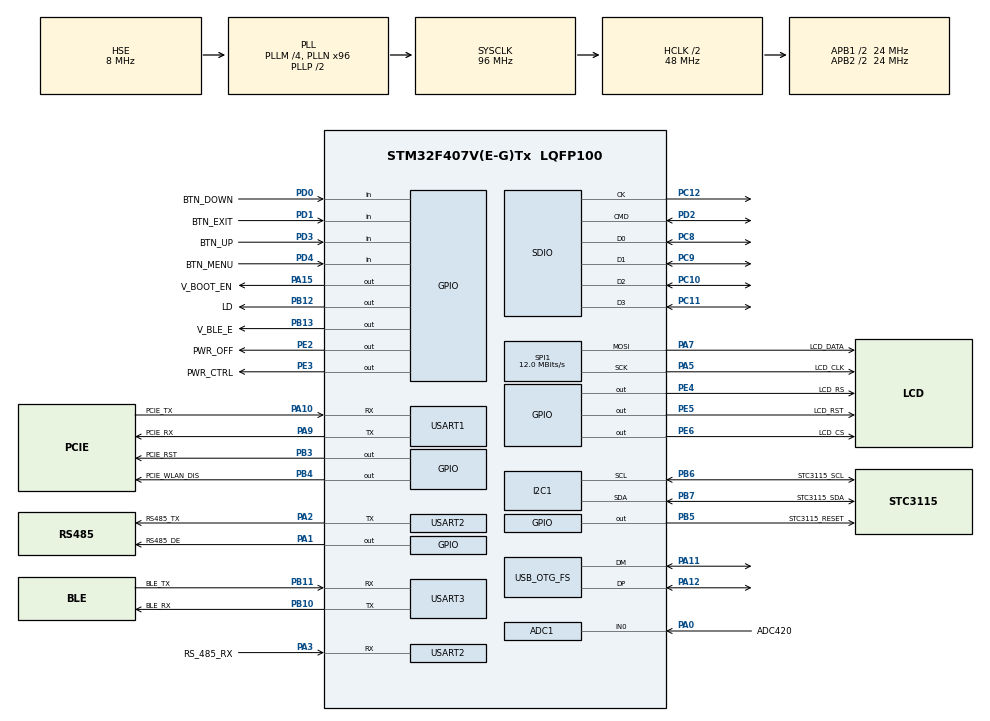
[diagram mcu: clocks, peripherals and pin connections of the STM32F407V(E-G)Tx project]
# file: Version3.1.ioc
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ADC1.Channel-2\#ChannelRegularConversion=ADC_CHANNEL_0
ADC1.NbrOfConversionFlag=1
ADC1.Rank-2\#ChannelRegularConversion=1
ADC1.SamplingTime-2\#ChannelRegularConversion=ADC_SAMPLETIME_3CYCLES
ADC1.master=1
Dma.Request0=SPI1_TX
Dma.Request1=SDIO_RX
Dma.Request2=SDIO_TX
Dma.Request3=USART2_TX
Dma.Request4=USART2_RX
Dma.Request5=USART1_RX
Dma.Request6=USART1_TX
Dma.Request7=USART3_RX
Dma.Request8=USART3_TX
Dma.SDIO_RX.1.Direction=DMA_PERIPH_TO_MEMORY
Dma.SDIO_RX.1.FIFOMode=DMA_FIFOMODE_ENABLE
Dma.SDIO_RX.1.FIFOThreshold=DMA_FIFO_THRESHOLD_FULL
Dma.SDIO_RX.1.Instance=DMA2_Stream6
Dma.SDIO_RX.1.MemBurst=DMA_MBURST_INC4
Dma.SDIO_RX.1.MemDataAlignment=DMA_MDATAALIGN_WORD
Dma.SDIO_RX.1.MemInc=DMA_MINC_ENABLE
Dma.SDIO_RX.1.Mode=DMA_PFCTRL
Dma.SDIO_RX.1.PeriphBurst=DMA_PBURST_INC4
Dma.SDIO_RX.1.PeriphDataAlignment=DMA_PDATAALIGN_WORD
Dma.SDIO_RX.1.PeriphInc=DMA_PINC_DISABLE
Dma.SDIO_RX.1.Priority=DMA_PRIORITY_LOW
Dma.SDIO_TX.2.Direction=DMA_MEMORY_TO_PERIPH
Dma.SDIO_TX.2.FIFOMode=DMA_FIFOMODE_ENABLE
Dma.SDIO_TX.2.FIFOThreshold=DMA_FIFO_THRESHOLD_FULL
Dma.SDIO_TX.2.Instance=DMA2_Stream3
Dma.SDIO_TX.2.MemBurst=DMA_MBURST_INC4
Dma.SDIO_TX.2.MemDataAlignment=DMA_MDATAALIGN_WORD
Dma.SDIO_TX.2.MemInc=DMA_MINC_ENABLE
Dma.SDIO_TX.2.Mode=DMA_PFCTRL
Dma.SDIO_TX.2.PeriphBurst=DMA_PBURST_INC4
Dma.SDIO_TX.2.PeriphDataAlignment=DMA_PDATAALIGN_WORD
Dma.SDIO_TX.2.PeriphInc=DMA_PINC_DISABLE
Dma.SDIO_TX.2.Priority=DMA_PRIORITY_LOW
Dma.SPI1_TX.0.Direction=DMA_MEMORY_TO_PERIPH
Dma.SPI1_TX.0.FIFOMode=DMA_FIFOMODE_DISABLE
Dma.SPI1_TX.0.Instance=DMA2_Stream5
Dma.SPI1_TX.0.MemDataAlignment=DMA_MDATAALIGN_BYTE
Dma.SPI1_TX.0.MemInc=DMA_MINC_ENABLE
Dma.SPI1_TX.0.Mode=DMA_NORMAL
Dma.SPI1_TX.0.PeriphDataAlignment=DMA_PDATAALIGN_BYTE
Dma.SPI1_TX.0.PeriphInc=DMA_PINC_DISABLE
Dma.SPI1_TX.0.Priority=DMA_PRIORITY_LOW
Dma.USART1_RX.5.Direction=DMA_PERIPH_TO_MEMORY
Dma.USART1_RX.5.FIFOMode=DMA_FIFOMODE_DISABLE
Dma.USART1_RX.5.Instance=DMA2_Stream2
Dma.USART1_RX.5.MemDataAlignment=DMA_MDATAALIGN_BYTE
Dma.USART1_RX.5.MemInc=DMA_MINC_ENABLE
Dma.USART1_RX.5.Mode=DMA_NORMAL
Dma.USART1_RX.5.PeriphDataAlignment=DMA_PDATAALIGN_BYTE
Dma.USART1_RX.5.PeriphInc=DMA_PINC_DISABLE
Dma.USART1_RX.5.Priority=DMA_PRIORITY_LOW
Dma.USART1_TX.6.Direction=DMA_MEMORY_TO_PERIPH
Dma.USART1_TX.6.FIFOMode=DMA_FIFOMODE_DISABLE
Dma.USART1_TX.6.Instance=DMA2_Stream7
Dma.USART1_TX.6.MemDataAlignment=DMA_MDATAALIGN_BYTE
Dma.USART1_TX.6.MemInc=DMA_MINC_ENABLE
Dma.USART1_TX.6.Mode=DMA_NORMAL
Dma.USART1_TX.6.PeriphDataAlignment=DMA_PDATAALIGN_BYTE
Dma.USART1_TX.6.PeriphInc=DMA_PINC_DISABLE
Dma.USART1_TX.6.Priority=DMA_PRIORITY_LOW
Dma.USART2_RX.4.Direction=DMA_PERIPH_TO_MEMORY
Dma.USART2_RX.4.FIFOMode=DMA_FIFOMODE_DISABLE
Dma.USART2_RX.4.Instance=DMA1_Stream5
Dma.USART2_RX.4.MemDataAlignment=DMA_MDATAALIGN_BYTE
Dma.USART2_RX.4.MemInc=DMA_MINC_ENABLE
Dma.USART2_RX.4.Mode=DMA_NORMAL
Dma.USART2_RX.4.PeriphDataAlignment=DMA_PDATAALIGN_BYTE
Dma.USART2_RX.4.PeriphInc=DMA_PINC_DISABLE
Dma.USART2_RX.4.Priority=DMA_PRIORITY_LOW
Dma.USART2_TX.3.Direction=DMA_MEMORY_TO_PERIPH
Dma.USART2_TX.3.FIFOMode=DMA_FIFOMODE_DISABLE
Dma.USART2_TX.3.Instance=DMA1_Stream6
Dma.USART2_TX.3.MemDataAlignment=DMA_MDATAALIGN_BYTE
Dma.USART2_TX.3.MemInc=DMA_MINC_ENABLE
Dma.USART2_TX.3.Mode=DMA_NORMAL
Dma.USART2_TX.3.PeriphDataAlignment=DMA_PDATAALIGN_BYTE
Dma.USART2_TX.3.PeriphInc=DMA_PINC_DISABLE
Dma.USART2_TX.3.Priority=DMA_PRIORITY_LOW
Dma.USART3_RX.7.Direction=DMA_PERIPH_TO_MEMORY
Dma.USART3_RX.7.FIFOMode=DMA_FIFOMODE_DISABLE
Dma.USART3_RX.7.Instance=DMA1_Stream1
Dma.USART3_RX.7.MemDataAlignment=DMA_MDATAALIGN_BYTE
Dma.USART3_RX.7.MemInc=DMA_MINC_ENABLE
Dma.USART3_RX.7.Mode=DMA_NORMAL
Dma.USART3_RX.7.PeriphDataAlignment=DMA_PDATAALIGN_BYTE
Dma.USART3_RX.7.PeriphInc=DMA_PINC_DISABLE
Dma.USART3_RX.7.Priority=DMA_PRIORITY_LOW
Dma.USART3_TX.8.Direction=DMA_MEMORY_TO_PERIPH
Dma.USART3_TX.8.FIFOMode=DMA_FIFOMODE_DISABLE
Dma.USART3_TX.8.Instance=DMA1_Stream3
Dma.USART3_TX.8.MemDataAlignment=DMA_MDATAALIGN_BYTE
Dma.USART3_TX.8.MemInc=DMA_MINC_ENABLE
Dma.USART3_TX.8.Mode=DMA_NORMAL
Dma.USART3_TX.8.PeriphDataAlignment=DMA_PDATAALIGN_BYTE
Dma.USART3_TX.8.PeriphInc=DMA_PINC_DISABLE
Dma.USART3_TX.8.Priority=DMA_PRIORITY_LOW
FREERTOS.Tasks01=Mainfunction,0,3096,MainfunctionTask,As weak,NULL,Dynamic,NULL,NULL;io_handle,1,1024,io_handle_cb,As weak,NULL,Dynamic,NULL,NULL;STC3115_handle,0,1024,STC3115_handle_cb,As weak,NULL,Dynamic,NULL,NULL;Uc20_Task,0,2048,Start_Uc20,As weak,NULL,Dynamic,NULL,NULL
FREERTOS.configTOTAL_HEAP_SIZE=65536
FREERTOS.configUSE_TIMERS=1
I2C1.I2C_Mode=I2C_Fast
Mcu.Family=STM32F4
Mcu.Name=STM32F407V(E-G)Tx
Mcu.Package=LQFP100
NVIC.DMA1_Stream1_IRQn=true\:5\:0\:false\:false\:true\:true\:false\:true
NVIC.DMA1_Stream3_IRQn=true\:5\:0\:false\:false\:true\:true\:false\:true
NVIC.DMA1_Stream5_IRQn=true\:5\:0\:false\:false\:true\:true\:false\:true
NVIC.DMA1_Stream6_IRQn=true\:5\:0\:false\:false\:true\:true\:false\:true
NVIC.DMA2_Stream2_IRQn=true\:5\:0\:false\:false\:true\:true\:false\:true
NVIC.DMA2_Stream3_IRQn=true\:5\:0\:false\:false\:true\:true\:false\:true
NVIC.DMA2_Stream5_IRQn=true\:5\:0\:false\:false\:true\:false\:false\:true
NVIC.DMA2_Stream6_IRQn=true\:5\:0\:false\:false\:true\:true\:false\:true
NVIC.DMA2_Stream7_IRQn=true\:5\:0\:false\:false\:true\:true\:false\:true
NVIC.I2C1_ER_IRQn=true\:5\:0\:false\:false\:true\:false\:true\:true
NVIC.I2C1_EV_IRQn=true\:5\:0\:false\:false\:true\:false\:true\:true
NVIC.OTG_FS_IRQn=true\:5\:0\:true\:false\:true\:false\:false\:true
NVIC.PriorityGroup=NVIC_PRIORITYGROUP_4
NVIC.SDIO_IRQn=true\:5\:0\:false\:false\:true\:true\:true\:true
NVIC.SPI1_IRQn=true\:5\:0\:false\:false\:true\:false\:true\:true
NVIC.TIM7_IRQn=true\:0\:0\:false\:false\:true\:false\:false\:true
NVIC.TimeBase=TIM7_IRQn
NVIC.TimeBaseIP=TIM7
NVIC.USART1_IRQn=true\:5\:0\:false\:false\:true\:true\:true\:true
NVIC.USART2_IRQn=true\:5\:0\:false\:false\:true\:true\:true\:true
PA0-WKUP.GPIO_Label=ADC420
PA0-WKUP.Signal=ADCx_IN0
PA1.GPIO_Label=RS485_DE
PA1.Signal=GPIO_Output
PA10.GPIO_Label=PCIE_TX
PA10.GPIO_PuPd=GPIO_PULLUP
PA10.Mode=Asynchronous
PA10.Signal=USART1_RX
PA11.Mode=Device_Only
PA11.Signal=USB_OTG_FS_DM
PA12.Mode=Device_Only
PA12.Signal=USB_OTG_FS_DP
PA13.Mode=Serial_Wire
PA13.Signal=SYS_JTMS-SWDIO
PA14.Mode=Serial_Wire
PA14.Signal=SYS_JTCK-SWCLK
PA15.GPIO_Label=V_BOOT_EN
PA15.Signal=GPIO_Output
PA2.GPIO_Label=RS485_TX
PA2.Mode=Asynchronous
PA2.Signal=USART2_TX
PA3.GPIO_Label=RS_485_RX
PA3.Mode=Asynchronous
PA3.Signal=USART2_RX
PA5.GPIO_Label=LCD_CLK
PA5.Mode=TX_Only_Simplex_Unidirect_Master
PA5.Signal=SPI1_SCK
PA7.GPIO_Label=LCD_DATA
PA7.Mode=TX_Only_Simplex_Unidirect_Master
PA7.Signal=SPI1_MOSI
PA9.GPIO_Label=PCIE_RX
PA9.GPIO_PuPd=GPIO_PULLUP
PA9.Mode=Asynchronous
PA9.Signal=USART1_TX
PB10.GPIO_Label=BLE_RX
PB10.Mode=Asynchronous
PB10.Signal=USART3_TX
PB11.GPIO_Label=BLE_TX
PB11.Mode=Asynchronous
PB11.Signal=USART3_RX
PB12.GPIO_Label=LD
PB12.Signal=GPIO_Output
PB13.GPIO_Label=V_BLE_E
PB13.Signal=GPIO_Output
PB3.GPIO_Label=PCIE_RST
PB3.Signal=GPIO_Output
PB4.GPIO_Label=PCIE_WLAN_DIS
PB4.Signal=GPIO_Output
PB5.GPIO_Label=STC3115_RESET
PB5.Signal=GPIO_Output
PB6.GPIO_Label=STC3115_SCL
PB6.Mode=I2C
PB6.Signal=I2C1_SCL
PB7.GPIO_Label=STC3115_SDA
PB7.Mode=I2C
PB7.Signal=I2C1_SDA
PC10.GPIO_PuPd=GPIO_PULLUP
PC10.Mode=SD_4_bits_Wide_bus
PC10.Signal=SDIO_D2
PC11.GPIO_PuPd=GPIO_PULLUP
PC11.Mode=SD_4_bits_Wide_bus
PC11.Signal=SDIO_D3
PC12.GPIO_PuPd=GPIO_NOPULL
PC12.Mode=SD_4_bits_Wide_bus
PC12.Signal=SDIO_CK
PC14-OSC32_IN.Mode=LSE-External-Oscillator
PC14-OSC32_IN.Signal=RCC_OSC32_IN
PC15-OSC32_OUT.Mode=LSE-External-Oscillator
PC15-OSC32_OUT.Signal=RCC_OSC32_OUT
PC8.GPIO_PuPd=GPIO_PULLUP
PC8.Mode=SD_4_bits_Wide_bus
PC8.Signal=SDIO_D0
PC9.GPIO_PuPd=GPIO_PULLUP
PC9.Mode=SD_4_bits_Wide_bus
PC9.Signal=SDIO_D1
PD0.GPIO_Label=BTN_DOWN
PD0.Signal=GPIO_Input
PD1.GPIO_Label=BTN_EXIT
PD1.Signal=GPIO_Input
PD2.GPIO_PuPd=GPIO_PULLUP
PD2.Mode=SD_4_bits_Wide_bus
PD2.Signal=SDIO_CMD
PD3.GPIO_Label=BTN_UP
PD3.Signal=GPIO_Input
PD4.GPIO_Label=BTN_MENU
PD4.Signal=GPIO_Input
PE2.GPIO_Label=PWR_OFF
PE2.GPIO_PuPd=GPIO_PULLDOWN
PE2.PinState=GPIO_PIN_RESET
PE2.Signal=GPIO_Output
PE3.GPIO_Label=PWR_CTRL
PE3.Signal=GPIO_Output
PE4.GPIO_Label=LCD_RS
PE4.Signal=GPIO_Output
PE5.GPIO_Label=LCD_RST
PE5.Signal=GPIO_Output
PE6.GPIO_Label=LCD_CS
PE6.Signal=GPIO_Output
PH0-OSC_IN.Mode=HSE-External-Oscillator
PH0-OSC_IN.Signal=RCC_OSC_IN
PH1-OSC_OUT.Mode=HSE-External-Oscillator
PH1-OSC_OUT.Signal=RCC_OSC_OUT
ProjectManager.HeapSize=0x200
ProjectManager.StackSize=0x400
ProjectManager.TargetToolchain=STM32CubeIDE
RCC.48MHZClocksFreq_Value=48000000
RCC.AHBCLKDivider=RCC_SYSCLK_DIV2
RCC.AHBFreq_Value=48000000
RCC.APB1CLKDivider=RCC_HCLK_DIV2
RCC.APB1Freq_Value=24000000
RCC.APB1TimFreq_Value=48000000
RCC.APB2CLKDivider=RCC_HCLK_DIV2
RCC.APB2Freq_Value=24000000
RCC.APB2TimFreq_Value=48000000
RCC.CortexFreq_Value=48000000
RCC.HCLKFreq_Value=48000000
RCC.HSE_VALUE=8000000
RCC.HSI_VALUE=16000000
RCC.PLLM=4
RCC.PLLN=96
RCC.RCC_RTC_Clock_SourceVirtual=RCC_RTCCLKSOURCE_LSE
RCC.RCC_RTC_Clock_Source_FROM_HSE=RCC_RTCCLKSOURCE_HSE_DIV16
RCC.SYSCLKFreq_VALUE=96000000
RCC.SYSCLKSource=RCC_SYSCLKSOURCE_PLLCLK
RCC.VCOOutputFreq_Value=192000000
RTC.Date=1
RTC.Format=RTC_FORMAT_BIN
RTC.Hours=10
RTC.Month=RTC_MONTH_DECEMBER
RTC.WeekDay=RTC_WEEKDAY_TUESDAY
RTC.Year=20
SDIO.ClockDiv=10
SH.ADCx_IN0.0=ADC1_IN0,IN0
SPI1.BaudRatePrescaler=SPI_BAUDRATEPRESCALER_2
SPI1.CLKPhase=SPI_PHASE_1EDGE
SPI1.CLKPolarity=SPI_POLARITY_LOW
SPI1.CalculateBaudRate=12.0 MBits/s
SPI1.Direction=SPI_DIRECTION_2LINES
SPI1.Mode=SPI_MODE_MASTER
SPI1.VirtualType=VM_MASTER
TIM1.Period=999
TIM1.Prescaler=95
USART1.VirtualMode=VM_ASYNC
USART2.BaudRate=9600
USART2.VirtualMode=VM_ASYNC
USART3.VirtualMode=VM_ASYNC
USB_DEVICE.APP_RX_DATA_SIZE-CDC_FS=512
USB_DEVICE.APP_TX_DATA_SIZE-CDC_FS=512
USB_DEVICE.CLASS_NAME_FS=CDC
USB_DEVICE.VirtualMode-CDC_FS=Cdc
USB_DEVICE.VirtualModeFS=Cdc_FS
USB_OTG_FS.VirtualMode=Device_Only
VP_FATFS_VS_SDIO.Mode=SDIO
VP_FREERTOS_VS_CMSIS_V1.Mode=CMSIS_V1
VP_RTC_VS_RTC_Activate.Mode=RTC_Enabled
VP_RTC_VS_RTC_Calendar.Mode=RTC_Calendar
VP_SYS_VS_tim7.Mode=TIM7
VP_TIM1_VS_ClockSourceINT.Mode=Internal
VP_USB_DEVICE_VS_USB_DEVICE_CDC_FS.Mode=CDC_FS
board=custom

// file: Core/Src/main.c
/* USER CODE BEGIN Header */
/**
  ******************************************************************************
  * @file           : main.c
  * @brief          : Main program body
  ******************************************************************************
  * @attention
  *
  * <h2><center>&copy; Copyright (c) 2020 STMicroelectronics.
  * All rights reserved.</center></h2>
  *
  * This software component is licensed by ST under Ultimate Liberty license
  * SLA0044, the "License"; You may not use this file except in compliance with
  * the License. You may obtain a copy of the License at:
  *                             www.st.com/SLA0044
  *
  ******************************************************************************
  */
/* USER CODE END Header */
#include "main.h"
#include "cmsis_os.h"
#include "fatfs.h"
#include "usb_device.h"

/* USER CODE BEGIN Includes */
#include "App_User.h"
#include "ST7565.h"
#include "stc3115_Driver.h"
#include "lvgl.h"
#include "lv_port_disp_template.h"
#include "App_Gpio.h"
//#include "lvgl.h"
/* USER CODE END Includes */

ADC_HandleTypeDef hadc1;

I2C_HandleTypeDef hi2c1;

RTC_HandleTypeDef hrtc;

SD_HandleTypeDef hsd;
DMA_HandleTypeDef hdma_sdio_rx;
DMA_HandleTypeDef hdma_sdio_tx;

SPI_HandleTypeDef hspi1;
DMA_HandleTypeDef hdma_spi1_tx;

TIM_HandleTypeDef htim1;

UART_HandleTypeDef huart1;
UART_HandleTypeDef huart2;
UART_HandleTypeDef huart3;
DMA_HandleTypeDef hdma_usart1_rx;
DMA_HandleTypeDef hdma_usart1_tx;
DMA_HandleTypeDef hdma_usart2_tx;
DMA_HandleTypeDef hdma_usart2_rx;
DMA_HandleTypeDef hdma_usart3_rx;
DMA_HandleTypeDef hdma_usart3_tx;

osThreadId MainfunctionHandle;
osThreadId io_handleHandle;
osThreadId STC3115_handleHandle;
osThreadId Uc20_TaskHandle;

void SystemClock_Config(void);
static void MX_GPIO_Init(void);
static void MX_DMA_Init(void);
static void MX_I2C1_Init(void);
static void MX_RTC_Init(void);
static void MX_SDIO_SD_Init(void);
static void MX_SPI1_Init(void);
static void MX_ADC1_Init(void);
static void MX_USART1_UART_Init(void);
static void MX_USART2_UART_Init(void);
static void MX_TIM1_Init(void);
static void MX_USART3_UART_Init(void);
void MainfunctionTask(void const * argument);
void io_handle_cb(void const * argument);
void STC3115_handle_cb(void const * argument);
void Start_Uc20(void const * argument);

/* USER CODE BEGIN 0 */

uint8_t code_pic2[]=
{

/*--  ������һ��ͼ��D:\liu\��ʾͼƬ\128642.bmp  --*/
/*--  ����x�߶�=128x64  --*/
0xFF,0x01,0x01,0x01,0x01,0x01,0x01,0xC1,0xF1,0xFD,0xFD,0x81,0x01,0x01,0x01,0x01,
0x01,0x01,0x01,0x01,0xC1,0xE1,0xF1,0xF9,0xF9,0xFD,0xFD,0xF9,0xF9,0x61,0xF1,0x51,
0x01,0x09,0x0D,0x0D,0x05,0x09,0x09,0x09,0x09,0x09,0x09,0x99,0xB9,0xC1,0x01,0x01,
0x01,0x81,0x81,0xC1,0xC1,0x81,0x01,0x01,0x01,0x01,0x01,0x01,0x01,0x01,0x01,0x01,
0xFF,0x01,0x01,0x01,0x01,0x01,0x01,0x01,0x01,0x01,0x01,0x01,0x01,0x01,0x01,0x01,
0x01,0x01,0x01,0x01,0x01,0x01,0x01,0x01,0x01,0x01,0x01,0x01,0xE1,0xF1,0xF1,0xF1,
0xE1,0xC1,0x01,0x01,0x01,0x01,0x01,0x01,0x01,0x01,0xF1,0x01,0x01,0x01,0x01,0x01,
0x01,0x01,0x01,0x01,0x01,0x01,0x01,0x01,0x01,0x01,0x01,0x01,0x01,0x01,0x01,0xFF,
0xFF,0x00,0x30,0x30,0x78,0x7C,0x7F,0x71,0x66,0x60,0x71,0x7F,0x7C,0x80,0x00,0x00,
0x00,0x00,0x00,0x00,0x07,0x8F,0x7F,0x1F,0x1F,0x3F,0x7F,0xFE,0xFE,0xFA,0xF3,0xF6,
0xF6,0xC4,0x48,0x18,0x18,0x78,0xF8,0xF8,0xF8,0xFC,0xF4,0xF4,0xEF,0xE8,0x99,0x71,
0x06,0x1F,0xFF,0xFF,0xFF,0xFF,0x7F,0x3E,0x00,0x00,0x00,0x00,0x00,0x00,0x00,0x00,
0xFF,0x00,0x00,0x00,0x00,0x00,0x00,0x00,0x00,0x00,0x00,0x00,0xE0,0xFC,0xFE,0xFE,
0xFC,0x78,0x20,0x20,0x10,0x10,0x08,0x08,0x08,0x0C,0x04,0x04,0x07,0x07,0x0F,0x0F,
0x0F,0x0F,0x1F,0x10,0x10,0x20,0x20,0x40,0xC0,0x80,0xFF,0x00,0x00,0x00,0x00,0x00,
0x00,0x00,0x00,0x00,0x00,0x00,0x00,0x00,0x00,0x00,0x00,0x00,0x00,0x00,0x00,0xFF,
0xFF,0x00,0x00,0x00,0x00,0x00,0x00,0x00,0x00,0x00,0x00,0x00,0xC0,0x23,0x7C,0x48,
0x48,0x88,0x78,0x30,0x0C,0xE3,0xF0,0xF8,0xFC,0x1E,0x4E,0x4E,0x6F,0xDF,0x7D,0x31,
0x01,0x00,0x00,0x00,0xC0,0xB0,0x98,0x99,0x39,0xF9,0xF9,0xF9,0xF1,0xE1,0xC0,0x00,
0x00,0x00,0x00,0xFF,0x00,0x00,0x00,0x00,0x00,0x00,0x00,0x00,0x00,0x00,0x00,0x00,
0xFF,0x00,0x00,0x00,0x00,0x00,0x00,0x00,0x00,0x00,0xC0,0x70,0x08,0x07,0x03,0x01,
0x00,0x80,0x80,0x84,0x84,0x00,0x08,0x00,0x00,0x00,0x02,0x01,0xC0,0xF0,0xF8,0xFC,
0xFE,0xFE,0xFF,0xFF,0xFF,0xFF,0xFF,0xFF,0xFF,0xFF,0xFF,0x7E,0x7C,0x7C,0x30,0x60,
0xC0,0x00,0x00,0x00,0x00,0x00,0x00,0x00,0x00,0x00,0x00,0x00,0x00,0x00,0x00,0xFF,
0xFF,0x00,0x00,0x00,0x00,0x00,0x00,0x00,0x00,0x00,0x00,0x00,0x07,0x08,0x18,0x10,
0x10,0x3F,0xF8,0x60,0xC0,0x83,0x07,0x0F,0x0F,0x0E,0x0C,0x04,0x0E,0x8C,0x88,0x00,
0x80,0x00,0x00,0x00,0x00,0x04,0x0C,0x1D,0x1D,0x3F,0x3F,0x3F,0x3F,0x1F,0x0F,0x00,
0x00,0x80,0xE0,0x3F,0x00,0x00,0x00,0x00,0x00,0x00,0x00,0x00,0x00,0x00,0x00,0x00,
0xFF,0x00,0x00,0x00,0x00,0x00,0x00,0x00,0xE0,0xFE,0xF1,0xFC,0xFC,0xFE,0xFF,0xFF,
0xFF,0xFF,0xFF,0xFF,0xFF,0xFF,0xFF,0x7E,0x7E,0x7C,0x38,0x20,0x1F,0x3F,0xFF,0xFF,
0xCF,0xC7,0xE7,0xE3,0xF3,0xF3,0xF1,0xF9,0xF9,0xFC,0xFC,0xFC,0xFE,0x7E,0x3F,0x00,
0x01,0x1F,0xF0,0x00,0x00,0x00,0x00,0x00,0x00,0x00,0x00,0x00,0x00,0x00,0x00,0xFF,
0xFF,0x00,0x00,0x00,0x00,0x00,0x00,0x00,0x00,0x00,0x00,0x00,0x00,0x00,0x00,0x00,
0x00,0x00,0x01,0x03,0x1C,0x71,0x83,0x02,0xE4,0xFC,0x78,0x39,0x11,0x10,0x10,0x10,
0x20,0x20,0x20,0x20,0x20,0xE0,0xE0,0xE0,0x70,0x30,0x30,0x78,0xF8,0xFC,0xE4,0x02,
0x01,0x01,0x00,0x00,0x00,0x00,0x00,0x00,0x00,0x00,0x00,0x00,0x00,0x00,0x00,0x00,
0xFF,0x00,0x00,0x00,0x00,0x00,0x00,0x00,0x3F,0xCF,0x3F,0xFF,0xFF,0xC7,0xE7,0xE3,
0xF3,0xF3,0xF1,0xF9,0xF8,0xFC,0xFC,0xFC,0xFE,0xFE,0x7F,0x1F,0x03,0x00,0x00,0x01,
0x03,0x03,0x07,0x07,0x07,0x07,0x07,0x07,0x07,0x07,0x03,0x01,0x01,0x80,0x40,0x20,
0x18,0x0F,0x01,0x00,0x00,0x00,0x00,0x00,0x00,0x00,0x00,0x00,0x00,0x00,0x00,0xFF,
0xFF,0x00,0x00,0x00,0x00,0x00,0x00,0x00,0x00,0x00,0x00,0x00,0x00,0x00,0x00,0x00,
0x00,0x00,0x00,0x00,0x00,0x00,0xF1,0x1F,0x01,0x00,0x00,0x00,0x00,0x00,0x00,0x00,
0x00,0x00,0x00,0x00,0x00,0x01,0x03,0x01,0x04,0x10,0x60,0x00,0x00,0x03,0x07,0x18,
0xE0,0x00,0x00,0x00,0x00,0x00,0x00,0x00,0x00,0x00,0x00,0x00,0x00,0x00,0x00,0x00,
0xFF,0x00,0x00,0x00,0x00,0x00,0x00,0x00,0x00,0x01,0x06,0x08,0x11,0x31,0x23,0x43,
0x47,0xC7,0x87,0x87,0x87,0x83,0x03,0x03,0x01,0x00,0x00,0x04,0x04,0x84,0xA0,0x80,
0x80,0xC0,0xC0,0x20,0x20,0x10,0x10,0x08,0x08,0x04,0xFE,0xC2,0xC1,0xE0,0xF0,0x70,
0x00,0x00,0x00,0x00,0x00,0x00,0x00,0x00,0x00,0x00,0x00,0x00,0x00,0x00,0x00,0xFF,
0xFF,0x00,0x00,0x00,0x00,0x00,0x00,0x00,0x00,0x00,0x00,0x00,0x00,0x00,0x00,0x00,
0x00,0x00,0x00,0x00,0x00,0x00,0xFF,0x80,0x00,0x00,0x00,0x00,0x00,0x00,0x00,0x00,
0x00,0x00,0x00,0x00,0x00,0x00,0x00,0x00,0x00,0x00,0x83,0x3E,0x1E,0x0C,0x04,0x00,
0x00,0x00,0x00,0x00,0x00,0x00,0x00,0x00,0x00,0x00,0x00,0x00,0x00,0x00,0x00,0x00,
0xFF,0x00,0x00,0x00,0x00,0x00,0x00,0x00,0x00,0x00,0x00,0x00,0x00,0x00,0x00,0x00,
0x00,0x00,0x00,0x00,0x00,0x01,0x01,0x01,0x01,0x07,0x07,0x83,0x43,0x67,0xA7,0x27,
0x27,0x27,0xC7,0x07,0x07,0x07,0x07,0x07,0x07,0x07,0x07,0x07,0x07,0x03,0x01,0x00,
0x00,0x00,0x00,0x00,0xE0,0x20,0x10,0x10,0x00,0x00,0x00,0x00,0x00,0x00,0x00,0xFF,
0xFF,0x80,0x80,0x80,0x80,0x80,0x80,0x80,0x80,0x80,0x80,0x80,0x80,0x80,0x80,0x80,
0x80,0x80,0x80,0x80,0x80,0x80,0x80,0x87,0x90,0xA0,0xA0,0xC0,0xC1,0xC2,0xC2,0xA6,
0xB6,0xA2,0xC0,0xC0,0xC0,0xC0,0xC0,0xC0,0xA0,0x9E,0x8F,0x80,0x80,0x80,0x80,0x80,
0x80,0x80,0x80,0x80,0x80,0x80,0x80,0x80,0x80,0x80,0x80,0x80,0x80,0x80,0x80,0x80,
0xFF,0x80,0x80,0x80,0x80,0x80,0x80,0x80,0x80,0x80,0x80,0x80,0x80,0x80,0x80,0x80,
0x80,0x80,0x80,0x80,0x80,0x80,0x80,0x80,0x80,0x80,0x87,0xA8,0xA0,0xB8,0xA7,0xA2,
0x82,0x81,0xBD,0xA2,0xA2,0xB9,0xA7,0x90,0xB2,0x8F,0x83,0x82,0xB9,0xA7,0x80,0xB8,
0xA6,0xA1,0xB1,0xAF,0x90,0x80,0xBC,0xA2,0xA2,0xB9,0xA7,0x90,0x80,0x80,0x80,0xFF
};

uint8_t Rxdata[100];

int _write(int file, char *ptr, int len)
{
	HAL_UART_Transmit(&huart3, (uint8_t *)ptr,len, 3000);
	for(int i =0;i<len;i++)
	{
		ITM_SendChar(*ptr);
		ptr++;
	}
	return len;
}

uint32_t st = 0;
float val = 0.01f;
//RTC_TimeTypeDef sTime = {0};
//RTC_DateTypeDef sDate = {0};

void App_Huart3_rx_callback(){
	HAL_UART_Receive_DMA(&huart3, Rxdata, 100);
}
/* USER CODE END 0 */

int main(void)
{

  /* MCU Configuration--------------------------------------------------------*/

  /* Reset of all peripherals, Initializes the Flash interface and the Systick. */
  HAL_Init();

  /* Configure the system clock */
  SystemClock_Config();

  /* Initialize all configured peripherals */
  MX_GPIO_Init();
  MX_DMA_Init();
  MX_I2C1_Init();
  MX_RTC_Init();
  MX_SDIO_SD_Init();
  MX_SPI1_Init();
  MX_ADC1_Init();
  MX_USART1_UART_Init();
  MX_USART2_UART_Init();
  MX_TIM1_Init();
  MX_USART3_UART_Init();
  MX_FATFS_Init();
  /* USER CODE BEGIN 2 */
  SET_PWR_CTRL_GET_STATE();

  HAL_GPIO_WritePin(V_BLE_E_GPIO_Port, V_BLE_E_Pin, GPIO_PIN_RESET);
  HAL_Delay(10);
  HAL_GPIO_WritePin(V_BLE_E_GPIO_Port, V_BLE_E_Pin, GPIO_PIN_SET);
  //HAL_UART_Receive_DMA(&huart3, Rxdata, 100);

//	HAL_GPIO_WritePin(V_BOOT_EN_GPIO_Port, V_BOOT_EN_Pin, GPIO_PIN_RESET);
//	HAL_GPIO_WritePin(PCIE_RST_GPIO_Port, PCIE_RST_Pin, GPIO_PIN_RESET);
//
//	osDelay(10);
//	HAL_GPIO_WritePin(V_BOOT_EN_GPIO_Port, V_BOOT_EN_Pin, GPIO_PIN_SET);
//	HAL_GPIO_WritePin(PCIE_RST_GPIO_Port, PCIE_RST_Pin, GPIO_PIN_SET);
//	uint8_t PICE,BLE;
//	while(1)
//	{
//		if(HAL_UART_Receive(&huart1,&PICE, 1,0)==HAL_OK)
//		{
//			HAL_UART_Transmit(&huart3, &PICE, 1, 0);
//		}
//		if(HAL_UART_Receive(&huart3,&BLE, 1,0)==HAL_OK)
//		{
//			HAL_UART_Transmit(&huart1, &BLE, 1, 0);
//		}
//	}

//  uint32_t Message_ID;
//  char *dt = "{\"APIKey\":\"9E95D850FD2096889E8B30102BB0FEF4\",\"StationID\":\"76-17-174-111-249-236\",\"Extention1\":\"10.834650\",\"Extention2\":\"106.700431\",\"Extention3\":\"1\",\"Extention4\":\"123\",\"Extention5\":\"string\",\"Extention6\":\"string\",\"Extention7\":\"string\",\"Extention8\":\"string\",\"Extention9\":\"string\",\"Extention10\":\"string\"}";
//
////  HAL_Delay(2000);
////  uint8_t cnt = 0;
////  uint8_t tranbuf[100];
//  while(1)
//  {
//
//	  HAL_RTC_GetTime(&hrtc, &sTime, RTC_FORMAT_BIN);
//	  HAL_RTC_GetDate(&hrtc, &sDate, RTC_FORMAT_BIN);
////	  HAL_UART_Transmit(&huart3, (uint8_t *)dt, strlen(dt), 1000);
//	  HAL_Delay(200);
////	  printf("hello world\n");
////	  HAL_UART_Transmit(&huart3, (uint8_t *)"AT\r\n",4, 1000);
////	  HAL_Delay(2000);
//  }

//  for(uint8_t i=0;i<10;i++)
//  {
//	  //HAL_GPIO_TogglePin(LD_GPIO_Port, LD_Pin);
//	  HAL_GPIO_WritePin(LD_GPIO_Port, LD_Pin, GPIO_PIN_RESET);
//	  HAL_Delay(100);
//	  HAL_GPIO_WritePin(LD_GPIO_Port, LD_Pin, GPIO_PIN_SET);
//	  HAL_Delay(100);
//  }

//  HAL_GPIO_WritePin(RS485_DE_GPIO_Port	, RS485_DE_Pin, GPIO_PIN_SET);
//
//  while(1)
//  {
//	  HAL_UART_Transmit(&huart2, (uint8_t *)"helloworld\n", 11, 1000);
//	  HAL_Delay(1000);
//  }
//
//  HAL_GPIO_WritePin(PCIE_RST_GPIO_Port, PCIE_RST_Pin, GPIO_PIN_RESET);
//  HAL_Delay(10);
//  HAL_GPIO_WritePin(PCIE_RST_GPIO_Port, PCIE_RST_Pin, GPIO_PIN_SET);
//  HAL_GPIO_WritePin(PCIE_WLAN_DIS_GPIO_Port	, PCIE_WLAN_DIS_Pin, GPIO_PIN_SET);
//  HAL_UART_Receive(&huart1, Rxdata, 100, 30000);
//
//  HAL_GPIO_WritePin(STC3115_RESET_GPIO_Port, STC3115_RESET_Pin, GPIO_PIN_RESET);
//   HAL_Delay(10);
//   HAL_GPIO_WritePin(STC3115_RESET_GPIO_Port, STC3115_RESET_Pin, GPIO_PIN_SET);
//   HAL_Delay(1000);
//   stc3115_Driver_main();
//   while(1)
//   {
//	   GasGauge_Task(&STC3115_ConfigData, &STC3115_BatteryData);
//	   HAL_Delay(5000);
//   }
  //ST7565_st7565_init();
//  ST7565_begin(10);
////  ST7565_clear_display();
////  ST7565_display();
//  ST7565_st7565_command(0xA4);
//  memset(st7565_buffer,0XFF,1024);
//  ST7565_refresh();
//  HAL_Delay(500);
//  memcpy(st7565_buffer,code_pic2,1024);
//  ST7565_refresh();
//  //ST7565_clear_display();
//  HAL_Delay(500);
//  memset(st7565_buffer,0x00,1024);
//  ST7565_refresh();
//  //ST7565_fill(code_pic2);
//  HAL_Delay(500);

  //draw_hello_world();
  //lv_ex_img_1();
//  uint32_t tt = HAL_GetTick()+300;
//  int cnt = 0;
//	while (1) {
//		lv_task_handler();
//		HAL_Delay(1000); // 5ms
//		if(HAL_GetTick() >tt )
//		{
//			tt = HAL_GetTick()+300;
//			val += 1.01;
//			//Sys_Update_Data(val);
//		}
//
//		cnt++;
//	}
//
// // ST7565_fill(0, 0, 127, 63, color);
//  while(1)
//  {
//	  //HAL_GPIO_TogglePin(V_BOOT_EN_GPIO_Port, V_BOOT_EN_Pin);
//	  memset(st7565_buffer,0XFF,1024);
//	  ST7565_refresh();
//	  HAL_Delay(1000);
//	  memcpy(st7565_buffer,code_pic2,1024);
//	  ST7565_refresh();
//	  //ST7565_clear_display();
//	  HAL_Delay(1000);
//	  memset(st7565_buffer,0x00,1024);
//	  ST7565_refresh();
//	  //ST7565_fill(code_pic2);
//	  HAL_Delay(1000);
//  }
//  ST7565_drawchar(20, 20, 'h');
//  HAL_Delay(10000);
//  while(1)
//  {
//	  if(SET_PWR_CTRL_GET_STATE())
//	  {
//		  if( Pwr_State == BTN_RELEASE)
//		  {
//			  HAL_Delay(15);
//			  if(SET_PWR_CTRL_GET_STATE())
//			  {
//				  Pwr_State = BTN_START_PRESS;
//				  timett = HAL_GetTick();
//			  }
//		  }
//	  }
//	  else {
//			if(Pwr_State == BTN_START_PRESS)
//			{
//				if(!SET_PWR_CTRL_GET_STATE())
//				{
//					Pwr_State = BTN_RELEASE;
//					timett = HAL_GetTick() - timett;
//					if(timett > 3000)
//					{
//						HAL_GPIO_WritePin(PWR_OFF_GPIO_Port, PWR_OFF_Pin, GPIO_PIN_SET);
//					}
//				}
//			}
//		}
//
//	  HAL_Delay(10);
//  }
//  HAL_Delay(10000);
//  HAL_GPIO_WritePin(PWR_OFF_GPIO_Port, PWR_OFF_Pin, GPIO_PIN_SET);
  /* USER CODE END 2 */

  /* Create the thread(s) */
  /* definition and creation of Mainfunction */
  osThreadDef(Mainfunction, MainfunctionTask, osPriorityNormal, 0, 3096);
  MainfunctionHandle = osThreadCreate(osThread(Mainfunction), NULL);

  /* definition and creation of io_handle */
  osThreadDef(io_handle, io_handle_cb, osPriorityAboveNormal, 0, 1024);
  io_handleHandle = osThreadCreate(osThread(io_handle), NULL);

  /* definition and creation of STC3115_handle */
  osThreadDef(STC3115_handle, STC3115_handle_cb, osPriorityNormal, 0, 1024);
  STC3115_handleHandle = osThreadCreate(osThread(STC3115_handle), NULL);

  /* definition and creation of Uc20_Task */
  osThreadDef(Uc20_Task, Start_Uc20, osPriorityNormal, 0, 2048);
  Uc20_TaskHandle = osThreadCreate(osThread(Uc20_Task), NULL);

  /* Start scheduler */
  osKernelStart();

  /* We should never get here as control is now taken by the scheduler */
  /* Infinite loop */
  while (1)
  {

  }
}

void SystemClock_Config(void)
{
  RCC_OscInitTypeDef RCC_OscInitStruct = {0};
  RCC_ClkInitTypeDef RCC_ClkInitStruct = {0};
  RCC_PeriphCLKInitTypeDef PeriphClkInitStruct = {0};

  /** Configure the main internal regulator output voltage
  */
  __HAL_RCC_PWR_CLK_ENABLE();
  __HAL_PWR_VOLTAGESCALING_CONFIG(PWR_REGULATOR_VOLTAGE_SCALE1);
  /** Initializes the RCC Oscillators according to the specified parameters
  * in the RCC_OscInitTypeDef structure.
  */
  RCC_OscInitStruct.OscillatorType = RCC_OSCILLATORTYPE_HSE|RCC_OSCILLATORTYPE_LSE;
  RCC_OscInitStruct.HSEState = RCC_HSE_ON;
  RCC_OscInitStruct.LSEState = RCC_LSE_ON;
  RCC_OscInitStruct.PLL.PLLState = RCC_PLL_ON;
  RCC_OscInitStruct.PLL.PLLSource = RCC_PLLSOURCE_HSE;
  RCC_OscInitStruct.PLL.PLLM = 4;
  RCC_OscInitStruct.PLL.PLLN = 96;
  RCC_OscInitStruct.PLL.PLLP = RCC_PLLP_DIV2;
  RCC_OscInitStruct.PLL.PLLQ = 4;
  if (HAL_RCC_OscConfig(&RCC_OscInitStruct) != HAL_OK)
  {
    Error_Handler();
  }
  /** Initializes the CPU, AHB and APB buses clocks
  */
  RCC_ClkInitStruct.ClockType = RCC_CLOCKTYPE_HCLK|RCC_CLOCKTYPE_SYSCLK
                              |RCC_CLOCKTYPE_PCLK1|RCC_CLOCKTYPE_PCLK2;
  RCC_ClkInitStruct.SYSCLKSource = RCC_SYSCLKSOURCE_PLLCLK;
  RCC_ClkInitStruct.AHBCLKDivider = RCC_SYSCLK_DIV2;
  RCC_ClkInitStruct.APB1CLKDivider = RCC_HCLK_DIV2;
  RCC_ClkInitStruct.APB2CLKDivider = RCC_HCLK_DIV2;

  if (HAL_RCC_ClockConfig(&RCC_ClkInitStruct, FLASH_LATENCY_1) != HAL_OK)
  {
    Error_Handler();
  }
  PeriphClkInitStruct.PeriphClockSelection = RCC_PERIPHCLK_RTC;
  PeriphClkInitStruct.RTCClockSelection = RCC_RTCCLKSOURCE_LSE;
  if (HAL_RCCEx_PeriphCLKConfig(&PeriphClkInitStruct) != HAL_OK)
  {
    Error_Handler();
  }
}

static void MX_ADC1_Init(void)
{

  ADC_ChannelConfTypeDef sConfig = {0};

  /** Configure the global features of the ADC (Clock, Resolution, Data Alignment and number of conversion)
  */
  hadc1.Instance = ADC1;
  hadc1.Init.ClockPrescaler = ADC_CLOCK_SYNC_PCLK_DIV2;
  hadc1.Init.Resolution = ADC_RESOLUTION_12B;
  hadc1.Init.ScanConvMode = DISABLE;
  hadc1.Init.ContinuousConvMode = DISABLE;
  hadc1.Init.DiscontinuousConvMode = DISABLE;
  hadc1.Init.ExternalTrigConvEdge = ADC_EXTERNALTRIGCONVEDGE_NONE;
  hadc1.Init.ExternalTrigConv = ADC_SOFTWARE_START;
  hadc1.Init.DataAlign = ADC_DATAALIGN_RIGHT;
  hadc1.Init.NbrOfConversion = 1;
  hadc1.Init.DMAContinuousRequests = DISABLE;
  hadc1.Init.EOCSelection = ADC_EOC_SINGLE_CONV;
  if (HAL_ADC_Init(&hadc1) != HAL_OK)
  {
    Error_Handler();
  }
  /** Configure for the selected ADC regular channel its corresponding rank in the sequencer and its sample time.
  */
  sConfig.Channel = ADC_CHANNEL_0;
  sConfig.Rank = 1;
  sConfig.SamplingTime = ADC_SAMPLETIME_3CYCLES;
  if (HAL_ADC_ConfigChannel(&hadc1, &sConfig) != HAL_OK)
  {
    Error_Handler();
  }

}

static void MX_I2C1_Init(void)
{

  hi2c1.Instance = I2C1;
  hi2c1.Init.ClockSpeed = 400000;
  hi2c1.Init.DutyCycle = I2C_DUTYCYCLE_2;
  hi2c1.Init.OwnAddress1 = 0;
  hi2c1.Init.AddressingMode = I2C_ADDRESSINGMODE_7BIT;
  hi2c1.Init.DualAddressMode = I2C_DUALADDRESS_DISABLE;
  hi2c1.Init.OwnAddress2 = 0;
  hi2c1.Init.GeneralCallMode = I2C_GENERALCALL_DISABLE;
  hi2c1.Init.NoStretchMode = I2C_NOSTRETCH_DISABLE;
  if (HAL_I2C_Init(&hi2c1) != HAL_OK)
  {
    Error_Handler();
  }

}

static void MX_RTC_Init(void)
{

  RTC_TimeTypeDef sTime = {0};
  RTC_DateTypeDef sDate = {0};

  /** Initialize RTC Only
  */
  hrtc.Instance = RTC;
  hrtc.Init.HourFormat = RTC_HOURFORMAT_24;
  hrtc.Init.AsynchPrediv = 127;
  hrtc.Init.SynchPrediv = 255;
  hrtc.Init.OutPut = RTC_OUTPUT_DISABLE;
  hrtc.Init.OutPutPolarity = RTC_OUTPUT_POLARITY_HIGH;
  hrtc.Init.OutPutType = RTC_OUTPUT_TYPE_OPENDRAIN;
  if (HAL_RTC_Init(&hrtc) != HAL_OK)
  {
    Error_Handler();
  }

  /* USER CODE BEGIN Check_RTC_BKUP */
  if(HAL_RTCEx_BKUPRead(&hrtc, 19)!= 1234)
  {
	  HAL_RTCEx_BKUPWrite(&hrtc, 19, 1234);
  /* USER CODE END Check_RTC_BKUP */

  /** Initialize RTC and set the Time and Date
  */
  sTime.Hours = 14;
  sTime.Minutes = 46;
  sTime.Seconds = 00;
  sTime.DayLightSaving = RTC_DAYLIGHTSAVING_NONE;
  sTime.StoreOperation = RTC_STOREOPERATION_RESET;
  if (HAL_RTC_SetTime(&hrtc, &sTime, RTC_FORMAT_BIN) != HAL_OK)
  {
    Error_Handler();
  }
  sDate.WeekDay = RTC_WEEKDAY_FRIDAY;
  sDate.Month = RTC_MONTH_DECEMBER;
  sDate.Date = 18;
  sDate.Year = 20;

  if (HAL_RTC_SetDate(&hrtc, &sDate, RTC_FORMAT_BIN) != HAL_OK)
  {
    Error_Handler();
  }
  }

}

static void MX_SDIO_SD_Init(void)
{

  hsd.Instance = SDIO;
  hsd.Init.ClockEdge = SDIO_CLOCK_EDGE_RISING;
  hsd.Init.ClockBypass = SDIO_CLOCK_BYPASS_DISABLE;
  hsd.Init.ClockPowerSave = SDIO_CLOCK_POWER_SAVE_DISABLE;
  hsd.Init.BusWide = SDIO_BUS_WIDE_1B;
  hsd.Init.HardwareFlowControl = SDIO_HARDWARE_FLOW_CONTROL_DISABLE;
  hsd.Init.ClockDiv = 10;

}

static void MX_SPI1_Init(void)
{

  /* SPI1 parameter configuration*/
  hspi1.Instance = SPI1;
  hspi1.Init.Mode = SPI_MODE_MASTER;
  hspi1.Init.Direction = SPI_DIRECTION_2LINES;
  hspi1.Init.DataSize = SPI_DATASIZE_8BIT;
  hspi1.Init.CLKPolarity = SPI_POLARITY_LOW;
  hspi1.Init.CLKPhase = SPI_PHASE_1EDGE;
  hspi1.Init.NSS = SPI_NSS_SOFT;
  hspi1.Init.BaudRatePrescaler = SPI_BAUDRATEPRESCALER_2;
  hspi1.Init.FirstBit = SPI_FIRSTBIT_MSB;
  hspi1.Init.TIMode = SPI_TIMODE_DISABLE;
  hspi1.Init.CRCCalculation = SPI_CRCCALCULATION_DISABLE;
  hspi1.Init.CRCPolynomial = 10;
  if (HAL_SPI_Init(&hspi1) != HAL_OK)
  {
    Error_Handler();
  }

}

static void MX_TIM1_Init(void)
{

  TIM_ClockConfigTypeDef sClockSourceConfig = {0};
  TIM_MasterConfigTypeDef sMasterConfig = {0};

  htim1.Instance = TIM1;
  htim1.Init.Prescaler = 95;
  htim1.Init.CounterMode = TIM_COUNTERMODE_UP;
  htim1.Init.Period = 999;
  htim1.Init.ClockDivision = TIM_CLOCKDIVISION_DIV1;
  htim1.Init.RepetitionCounter = 0;
  htim1.Init.AutoReloadPreload = TIM_AUTORELOAD_PRELOAD_DISABLE;
  if (HAL_TIM_Base_Init(&htim1) != HAL_OK)
  {
    Error_Handler();
  }
  sClockSourceConfig.ClockSource = TIM_CLOCKSOURCE_INTERNAL;
  if (HAL_TIM_ConfigClockSource(&htim1, &sClockSourceConfig) != HAL_OK)
  {
    Error_Handler();
  }
  sMasterConfig.MasterOutputTrigger = TIM_TRGO_RESET;
  sMasterConfig.MasterSlaveMode = TIM_MASTERSLAVEMODE_DISABLE;
  if (HAL_TIMEx_MasterConfigSynchronization(&htim1, &sMasterConfig) != HAL_OK)
  {
    Error_Handler();
  }

}

static void MX_USART1_UART_Init(void)
{

  huart1.Instance = USART1;
  huart1.Init.BaudRate = 115200;
  huart1.Init.WordLength = UART_WORDLENGTH_8B;
  huart1.Init.StopBits = UART_STOPBITS_1;
  huart1.Init.Parity = UART_PARITY_NONE;
  huart1.Init.Mode = UART_MODE_TX_RX;
  huart1.Init.HwFlowCtl = UART_HWCONTROL_NONE;
  huart1.Init.OverSampling = UART_OVERSAMPLING_16;
  if (HAL_UART_Init(&huart1) != HAL_OK)
  {
    Error_Handler();
  }

}

static void MX_USART2_UART_Init(void)
{

  huart2.Instance = USART2;
  huart2.Init.BaudRate = 9600;
  huart2.Init.WordLength = UART_WORDLENGTH_8B;
  huart2.Init.StopBits = UART_STOPBITS_1;
  huart2.Init.Parity = UART_PARITY_NONE;
  huart2.Init.Mode = UART_MODE_TX_RX;
  huart2.Init.HwFlowCtl = UART_HWCONTROL_NONE;
  huart2.Init.OverSampling = UART_OVERSAMPLING_16;
  if (HAL_UART_Init(&huart2) != HAL_OK)
  {
    Error_Handler();
  }

}

static void MX_USART3_UART_Init(void)
{

  huart3.Instance = USART3;
  huart3.Init.BaudRate = 115200;
  huart3.Init.WordLength = UART_WORDLENGTH_8B;
  huart3.Init.StopBits = UART_STOPBITS_1;
  huart3.Init.Parity = UART_PARITY_NONE;
  huart3.Init.Mode = UART_MODE_TX_RX;
  huart3.Init.HwFlowCtl = UART_HWCONTROL_NONE;
  huart3.Init.OverSampling = UART_OVERSAMPLING_16;
  if (HAL_UART_Init(&huart3) != HAL_OK)
  {
    Error_Handler();
  }

}

static void MX_DMA_Init(void)
{

  /* DMA controller clock enable */
  __HAL_RCC_DMA2_CLK_ENABLE();
  __HAL_RCC_DMA1_CLK_ENABLE();

  /* DMA interrupt init */
  /* DMA1_Stream1_IRQn interrupt configuration */
  HAL_NVIC_SetPriority(DMA1_Stream1_IRQn, 5, 0);
  HAL_NVIC_EnableIRQ(DMA1_Stream1_IRQn);
  /* DMA1_Stream3_IRQn interrupt configuration */
  HAL_NVIC_SetPriority(DMA1_Stream3_IRQn, 5, 0);
  HAL_NVIC_EnableIRQ(DMA1_Stream3_IRQn);
  /* DMA1_Stream5_IRQn interrupt configuration */
  HAL_NVIC_SetPriority(DMA1_Stream5_IRQn, 5, 0);
  HAL_NVIC_EnableIRQ(DMA1_Stream5_IRQn);
  /* DMA1_Stream6_IRQn interrupt configuration */
  HAL_NVIC_SetPriority(DMA1_Stream6_IRQn, 5, 0);
  HAL_NVIC_EnableIRQ(DMA1_Stream6_IRQn);
  /* DMA2_Stream2_IRQn interrupt configuration */
  HAL_NVIC_SetPriority(DMA2_Stream2_IRQn, 5, 0);
  HAL_NVIC_EnableIRQ(DMA2_Stream2_IRQn);
  /* DMA2_Stream3_IRQn interrupt configuration */
  HAL_NVIC_SetPriority(DMA2_Stream3_IRQn, 5, 0);
  HAL_NVIC_EnableIRQ(DMA2_Stream3_IRQn);
  /* DMA2_Stream5_IRQn interrupt configuration */
  HAL_NVIC_SetPriority(DMA2_Stream5_IRQn, 5, 0);
  HAL_NVIC_EnableIRQ(DMA2_Stream5_IRQn);
  /* DMA2_Stream6_IRQn interrupt configuration */
  HAL_NVIC_SetPriority(DMA2_Stream6_IRQn, 5, 0);
  HAL_NVIC_EnableIRQ(DMA2_Stream6_IRQn);
  /* DMA2_Stream7_IRQn interrupt configuration */
  HAL_NVIC_SetPriority(DMA2_Stream7_IRQn, 5, 0);
  HAL_NVIC_EnableIRQ(DMA2_Stream7_IRQn);

}

static void MX_GPIO_Init(void)
{
  GPIO_InitTypeDef GPIO_InitStruct = {0};

  /* GPIO Ports Clock Enable */
  __HAL_RCC_GPIOE_CLK_ENABLE();
  __HAL_RCC_GPIOC_CLK_ENABLE();
  __HAL_RCC_GPIOH_CLK_ENABLE();
  __HAL_RCC_GPIOA_CLK_ENABLE();
  __HAL_RCC_GPIOB_CLK_ENABLE();
  __HAL_RCC_GPIOD_CLK_ENABLE();

  /*Configure GPIO pin Output Level */
  HAL_GPIO_WritePin(GPIOE, PWR_OFF_Pin|PWR_CTRL_Pin|LCD_RS_Pin|LCD_RST_Pin
                          |LCD_CS_Pin, GPIO_PIN_RESET);

  /*Configure GPIO pin Output Level */
  HAL_GPIO_WritePin(GPIOA, RS485_DE_Pin|V_BOOT_EN_Pin, GPIO_PIN_RESET);

  /*Configure GPIO pin Output Level */
  HAL_GPIO_WritePin(GPIOB, LD_Pin|V_BLE_E_Pin|PCIE_RST_Pin|PCIE_WLAN_DIS_Pin
                          |STC3115_RESET_Pin, GPIO_PIN_RESET);

  /*Configure GPIO pin : PWR_OFF_Pin */
  GPIO_InitStruct.Pin = PWR_OFF_Pin;
  GPIO_InitStruct.Mode = GPIO_MODE_OUTPUT_PP;
  GPIO_InitStruct.Pull = GPIO_PULLDOWN;
  GPIO_InitStruct.Speed = GPIO_SPEED_FREQ_LOW;
  HAL_GPIO_Init(PWR_OFF_GPIO_Port, &GPIO_InitStruct);

  /*Configure GPIO pins : PWR_CTRL_Pin LCD_RS_Pin LCD_RST_Pin LCD_CS_Pin */
  GPIO_InitStruct.Pin = PWR_CTRL_Pin|LCD_RS_Pin|LCD_RST_Pin|LCD_CS_Pin;
  GPIO_InitStruct.Mode = GPIO_MODE_OUTPUT_PP;
  GPIO_InitStruct.Pull = GPIO_NOPULL;
  GPIO_InitStruct.Speed = GPIO_SPEED_FREQ_LOW;
  HAL_GPIO_Init(GPIOE, &GPIO_InitStruct);

  /*Configure GPIO pins : RS485_DE_Pin V_BOOT_EN_Pin */
  GPIO_InitStruct.Pin = RS485_DE_Pin|V_BOOT_EN_Pin;
  GPIO_InitStruct.Mode = GPIO_MODE_OUTPUT_PP;
  GPIO_InitStruct.Pull = GPIO_NOPULL;
  GPIO_InitStruct.Speed = GPIO_SPEED_FREQ_LOW;
  HAL_GPIO_Init(GPIOA, &GPIO_InitStruct);

  /*Configure GPIO pins : LD_Pin V_BLE_E_Pin PCIE_RST_Pin PCIE_WLAN_DIS_Pin
                           STC3115_RESET_Pin */
  GPIO_InitStruct.Pin = LD_Pin|V_BLE_E_Pin|PCIE_RST_Pin|PCIE_WLAN_DIS_Pin
                          |STC3115_RESET_Pin;
  GPIO_InitStruct.Mode = GPIO_MODE_OUTPUT_PP;
  GPIO_InitStruct.Pull = GPIO_NOPULL;
  GPIO_InitStruct.Speed = GPIO_SPEED_FREQ_LOW;
  HAL_GPIO_Init(GPIOB, &GPIO_InitStruct);

  /*Configure GPIO pins : BTN_DOWN_Pin BTN_EXIT_Pin BTN_UP_Pin BTN_MENU_Pin */
  GPIO_InitStruct.Pin = BTN_DOWN_Pin|BTN_EXIT_Pin|BTN_UP_Pin|BTN_MENU_Pin;
  GPIO_InitStruct.Mode = GPIO_MODE_INPUT;
  GPIO_InitStruct.Pull = GPIO_NOPULL;
  HAL_GPIO_Init(GPIOD, &GPIO_InitStruct);

}

__weak void MainfunctionTask(void const * argument)
{
  /* init code for USB_DEVICE */
  MX_USB_DEVICE_Init();
  for(;;)
  {
    osDelay(1);
  }
}

__weak void io_handle_cb(void const * argument)
{
  for(;;)
  {
    osDelay(1);
  }
}

__weak void STC3115_handle_cb(void const * argument)
{
  for(;;)
  {
    osDelay(1);
  }
}

__weak void Start_Uc20(void const * argument)
{
  for(;;)
  {
    osDelay(1);
  }
}

void HAL_TIM_PeriodElapsedCallback(TIM_HandleTypeDef *htim)
{
  /* USER CODE BEGIN Callback 0 */
  if (htim->Instance == TIM7) {
	lv_tick_inc(1);
  }
  /* USER CODE END Callback 0 */
  if (htim->Instance == TIM7) {
    HAL_IncTick();
  }
}

void Error_Handler(void)
{
}

/************************ (C) COPYRIGHT STMicroelectronics *****END OF FILE****/
